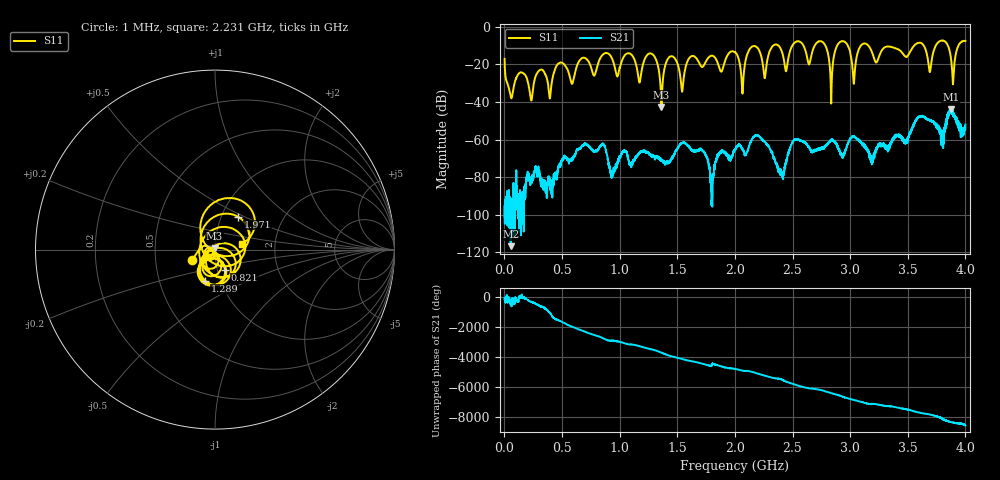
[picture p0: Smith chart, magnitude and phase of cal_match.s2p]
!Created with skrf (http://scikit-rf.org).
# GHz S RI R 50.0
!freq ReS11 ImS11 ReS21 ImS21 ReS12 ImS12 ReS22 ImS22
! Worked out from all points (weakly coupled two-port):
!   4000 points, 1 MHz to 4 GHz, reference 50 ohm
!   highest |S21| = -43.92 dB at 3.873 GHz (marker M1); lowest = -116.8 dB at 54 MHz (marker M2)
!   lowest |S11| = -42.6 dB at 1.362 GHz (marker M3), VSWR 1.01, Z = 49.8 + j0.704 ohm
!   |S11| at or under -10 dB: start of sweep to 2.331 GHz; 2.378 GHz to 2.498 GHz (119.7 MHz wide, 4.91 % of centre); 3.158 GHz to 3.555 GHz (396.9 MHz wide, 11.8 % of centre) (the widest 3 of 8)
!   S12 and S22 are empty: the file has one direction only
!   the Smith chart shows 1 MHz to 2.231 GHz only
!   S11 on the Smith chart (normalised r, x): 1 MHz: 0.77, -0.09; 821 MHz: 1.09, -0.25; 1.289 GHz: 0.85, -0.31; 1.971 GHz: 1.19, +0.46; 2.231 GHz: 1.35, +0.09
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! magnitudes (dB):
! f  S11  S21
! 1 MHz  -17.0  -101.2
! 54 MHz  -37.2  -116.8
! 668 MHz  -16.8  -64.1
! 821 MHz  -18.0  -64.7
! 937 MHz  -17.4  -78.3
! 1.289 GHz  -14.8  -68.7
! 1.334 GHz  -21.3  -69.1
! 1.362 GHz  -42.6  -70.5
! 1.439 GHz  -15.8  -71.4
! 1.542 GHz  -34.5  -61.8
! 1.799 GHz  -15.3  -94.5
! 1.971 GHz  -13.0  -70.0
! 2.001 GHz  -13.3  -65.1
! 2.064 GHz  -35.0  -64.8
! 2.141 GHz  -10.9  -61.0
! 2.231 GHz  -16.3  -59.5
! 2.404 GHz  -12.6  -78.3
! 2.516 GHz  -8.5  -60.0
! 2.667 GHz  -14.3  -66.4
! 3.334 GHz  -10.4  -63.5
! 3.873 GHz  -15.9  -43.9
! 4 GHz  -7.5  -52.0
